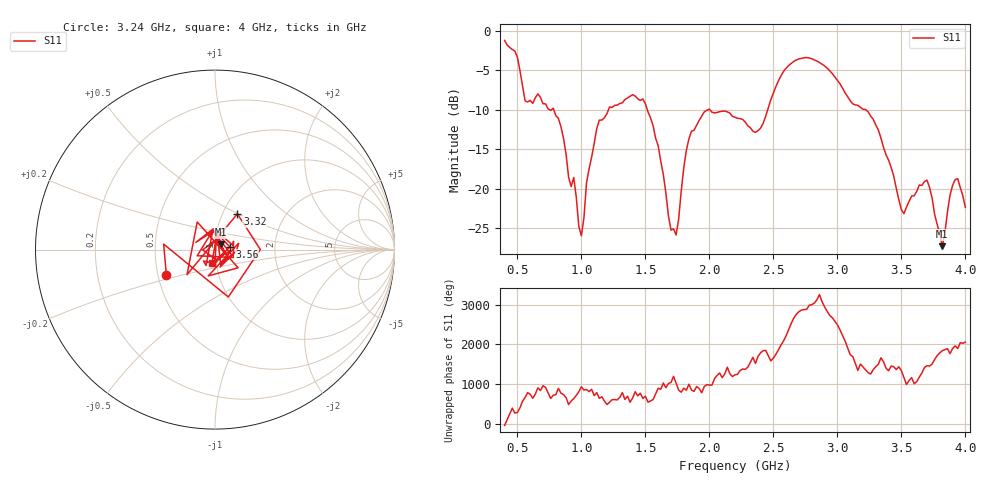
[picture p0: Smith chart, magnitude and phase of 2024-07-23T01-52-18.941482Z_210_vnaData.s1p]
!Created with skrf (http://scikit-rf.org).
# Hz S RI R 50.0
!freq ReS11 ImS11
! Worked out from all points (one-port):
!   181 points, 400 MHz to 4 GHz, reference 50 ohm
!   lowest |S11| = -27.3 dB at 3.82 GHz (marker M1), VSWR 1.09, Z = 53.3 + j3.06 ohm
!   |S11| at or under -10 dB: 1.514 GHz to 1.992 GHz (477.7 MHz wide, 27.2 % of centre); 2.003 GHz to 2.456 GHz (452.9 MHz wide, 20.3 % of centre); 3.221 GHz to end of sweep (the widest 3 of 5)
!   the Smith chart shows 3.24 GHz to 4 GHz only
!   S11 on the Smith chart (normalised r, x): 3.24 GHz: 0.55, -0.17; 3.32 GHz: 1.17, +0.49; 3.56 GHz: 1.18, +0.04; 4 GHz: 0.95, -0.14
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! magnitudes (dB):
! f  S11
! 400 MHz  -1.3
! 500 MHz  -3.4
! 560 MHz  -8.9
! 780 MHz  -9.8
! 860 MHz  -13.6
! 940 MHz  -18.6
! 1 GHz  -26.0
! 1.04 GHz  -19.3
! 1.12 GHz  -12.4
! 1.3 GHz  -9.2
! 1.5 GHz  -9.3
! 1.6 GHz  -14.6
! 1.7 GHz  -25.2
! 1.76 GHz  -23.8
! 1.86 GHz  -12.7
! 2.2 GHz  -11.0
! 2.38 GHz  -12.7
! 2.66 GHz  -3.9
! 2.9 GHz  -4.5
! 3.1 GHz  -8.9
! 3.24 GHz  -10.3
! 3.32 GHz  -12.6
! 3.5 GHz  -22.7
! 3.56 GHz  -21.6
! 3.7 GHz  -18.9
! 3.82 GHz  -27.3
! 3.92 GHz  -18.9
! 4 GHz  -22.4
